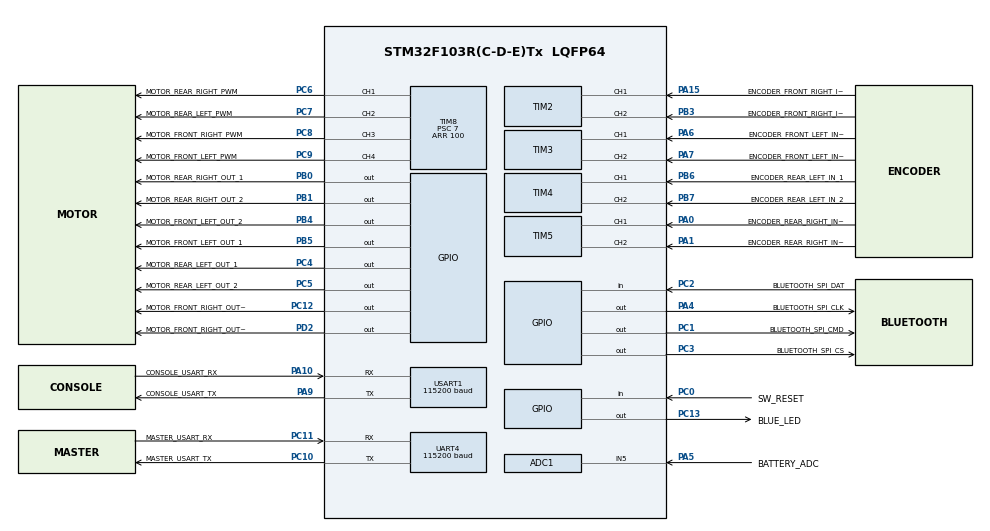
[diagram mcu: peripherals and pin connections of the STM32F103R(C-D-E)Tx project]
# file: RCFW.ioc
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ADC1.Channel-3\#ChannelRegularConversion=ADC_CHANNEL_5
ADC1.NbrOfConversionFlag=1
ADC1.Rank-3\#ChannelRegularConversion=1
ADC1.SamplingTime-3\#ChannelRegularConversion=ADC_SAMPLETIME_1CYCLE_5
ADC1.master=1
Mcu.Family=STM32F1
Mcu.Name=STM32F103R(C-D-E)Tx
Mcu.Package=LQFP64
NVIC.PriorityGroup=NVIC_PRIORITYGROUP_4
NVIC.TIM1_UP_IRQn=true\:6\:0\:true\:false\:true\:true\:true
NVIC.TIM2_IRQn=true\:4\:0\:true\:false\:true\:true\:true
NVIC.TIM3_IRQn=true\:4\:0\:true\:false\:true\:true\:true
NVIC.TIM4_IRQn=true\:4\:0\:true\:false\:true\:true\:true
NVIC.TIM5_IRQn=true\:4\:0\:true\:false\:true\:true\:true
NVIC.TIM6_IRQn=true\:0\:0\:false\:false\:true\:true\:true
NVIC.UART4_IRQn=true\:5\:0\:true\:false\:true\:true\:true
NVIC.USART1_IRQn=true\:5\:0\:true\:false\:true\:true\:true
PA0-WKUP.GPIO_Label=ENCODER_REAR_RIGHT_IN_1
PA0-WKUP.Signal=S_TIM5_CH1
PA1.GPIO_Label=ENCODER_REAR_RIGHT_IN_2
PA1.Signal=S_TIM5_CH2
PA10.GPIO_Label=CONSOLE_USART_RX
PA10.Mode=Asynchronous
PA10.Signal=USART1_RX
PA13.Mode=Serial_Wire
PA13.Signal=SYS_JTMS-SWDIO
PA14.Mode=Serial_Wire
PA14.Signal=SYS_JTCK-SWCLK
PA15.GPIO_Label=ENCODER_FRONT_RIGHT_IN_1
PA15.Signal=S_TIM2_CH1_ETR
PA4.GPIO_Label=BLUETOOTH_SPI_CLK
PA4.GPIO_Speed=GPIO_SPEED_FREQ_HIGH
PA4.Signal=GPIO_Output
PA5.GPIO_Label=BATTERY_ADC
PA5.Signal=SharedAnalog_PA5
PA6.GPIO_Label=ENCODER_FRONT_LEFT_IN_1
PA6.Signal=S_TIM3_CH1
PA7.GPIO_Label=ENCODER_FRONT_LEFT_IN_2
PA7.Signal=S_TIM3_CH2
PA9.GPIO_Label=CONSOLE_USART_TX
PA9.Mode=Asynchronous
PA9.Signal=USART1_TX
PB0.GPIO_Label=MOTOR_REAR_RIGHT_OUT_1
PB0.GPIO_Speed=GPIO_SPEED_FREQ_HIGH
PB0.Signal=GPIO_Output
PB1.GPIO_Label=MOTOR_REAR_RIGHT_OUT_2
PB1.GPIO_Speed=GPIO_SPEED_FREQ_HIGH
PB1.Signal=GPIO_Output
PB3.GPIO_Label=ENCODER_FRONT_RIGHT_IN_2
PB3.Signal=S_TIM2_CH2
PB4.GPIO_Label=MOTOR_FRONT_LEFT_OUT_2
PB4.GPIO_Speed=GPIO_SPEED_FREQ_HIGH
PB4.Signal=GPIO_Output
PB5.GPIO_Label=MOTOR_FRONT_LEFT_OUT_1
PB5.GPIO_Speed=GPIO_SPEED_FREQ_HIGH
PB5.Signal=GPIO_Output
PB6.GPIO_Label=ENCODER_REAR_LEFT_IN_1
PB6.Signal=S_TIM4_CH1
PB7.GPIO_Label=ENCODER_REAR_LEFT_IN_2
PB7.Signal=S_TIM4_CH2
PC0.GPIO_Label=SW_RESET
PC0.Signal=GPIO_Input
PC1.GPIO_Label=BLUETOOTH_SPI_CMD
PC1.GPIO_Speed=GPIO_SPEED_FREQ_HIGH
PC1.Signal=GPIO_Output
PC10.GPIO_Label=MASTER_USART_TX
PC10.Mode=Asynchronous
PC10.Signal=UART4_TX
PC11.GPIO_Label=MASTER_USART_RX
PC11.Mode=Asynchronous
PC11.Signal=UART4_RX
PC12.GPIO_Label=MOTOR_FRONT_RIGHT_OUT_2
PC12.GPIO_Speed=GPIO_SPEED_FREQ_HIGH
PC12.Signal=GPIO_Output
PC13-TAMPER-RTC.GPIO_Label=BLUE_LED
PC13-TAMPER-RTC.Signal=GPIO_Output
PC2.GPIO_Label=BLUETOOTH_SPI_DAT
PC2.Signal=GPIO_Input
PC3.GPIO_Label=BLUETOOTH_SPI_CS
PC3.GPIO_Speed=GPIO_SPEED_FREQ_HIGH
PC3.Signal=GPIO_Output
PC4.GPIO_Label=MOTOR_REAR_LEFT_OUT_1
PC4.GPIO_Speed=GPIO_SPEED_FREQ_HIGH
PC4.Signal=GPIO_Output
PC5.GPIO_Label=MOTOR_REAR_LEFT_OUT_2
PC5.GPIO_Speed=GPIO_SPEED_FREQ_HIGH
PC5.Signal=GPIO_Output
PC6.GPIO_Label=MOTOR_REAR_RIGHT_PWM
PC6.GPIO_Speed=GPIO_SPEED_FREQ_HIGH
PC6.Signal=S_TIM8_CH1
PC7.GPIO_Label=MOTOR_REAR_LEFT_PWM
PC7.GPIO_Speed=GPIO_SPEED_FREQ_HIGH
PC7.Signal=S_TIM8_CH2
PC8.GPIO_Label=MOTOR_FRONT_RIGHT_PWM
PC8.GPIO_Speed=GPIO_SPEED_FREQ_HIGH
PC8.Signal=S_TIM8_CH3
PC9.GPIO_Label=MOTOR_FRONT_LEFT_PWM
PC9.GPIO_Speed=GPIO_SPEED_FREQ_HIGH
PC9.Signal=S_TIM8_CH4
PD2.GPIO_Label=MOTOR_FRONT_RIGHT_OUT_1
PD2.GPIO_Speed=GPIO_SPEED_FREQ_HIGH
PD2.Signal=GPIO_Output
ProjectManager.HeapSize=0x200
ProjectManager.StackSize=0x400
ProjectManager.TargetToolchain=STM32CubeIDE
RCC.APB1Freq_Value=8000000
RCC.APB2Freq_Value=8000000
SH.S_TIM2_CH1_ETR.0=TIM2_CH1,Encoder_Interface
SH.S_TIM2_CH2.0=TIM2_CH2,Encoder_Interface
SH.S_TIM3_CH1.0=TIM3_CH1,Encoder_Interface
SH.S_TIM3_CH2.0=TIM3_CH2,Encoder_Interface
SH.S_TIM4_CH1.0=TIM4_CH1,Encoder_Interface
SH.S_TIM4_CH2.0=TIM4_CH2,Encoder_Interface
SH.S_TIM5_CH1.0=TIM5_CH1,Encoder_Interface
SH.S_TIM5_CH2.0=TIM5_CH2,Encoder_Interface
SH.S_TIM8_CH1.0=TIM8_CH1,PWM Generation1 CH1
SH.S_TIM8_CH2.0=TIM8_CH2,PWM Generation2 CH2
SH.S_TIM8_CH3.0=TIM8_CH3,PWM Generation3 CH3
SH.S_TIM8_CH4.0=TIM8_CH4,PWM Generation4 CH4
SH.SharedAnalog_PA5.0=GPIO_Analog
SH.SharedAnalog_PA5.1=ADC1_IN5,IN5
TIM1.AutoReloadPreload=TIM_AUTORELOAD_PRELOAD_ENABLE
TIM1.Period=249
TIM1.Prescaler=7999
TIM2.AutoReloadPreload=TIM_AUTORELOAD_PRELOAD_ENABLE
TIM2.EncoderMode=TIM_ENCODERMODE_TI12
TIM2.IC1Filter=10
TIM3.AutoReloadPreload=TIM_AUTORELOAD_PRELOAD_ENABLE
TIM3.EncoderMode=TIM_ENCODERMODE_TI12
TIM3.IC1Filter=10
TIM3.IC1Polarity=TIM_ICPOLARITY_RISING
TIM3.IC2Polarity=TIM_ICPOLARITY_RISING
TIM4.AutoReloadPreload=TIM_AUTORELOAD_PRELOAD_ENABLE
TIM4.EncoderMode=TIM_ENCODERMODE_TI12
TIM4.IC1Filter=10
TIM5.AutoReloadPreload=TIM_AUTORELOAD_PRELOAD_ENABLE
TIM5.EncoderMode=TIM_ENCODERMODE_TI12
TIM5.IC1Filter=10
TIM6.AutoReloadPreload=TIM_AUTORELOAD_PRELOAD_ENABLE
TIM6.Prescaler=7
TIM7.AutoReloadPreload=TIM_AUTORELOAD_PRELOAD_ENABLE
TIM7.Prescaler=7
TIM8.AutoReloadPreload=TIM_AUTORELOAD_PRELOAD_ENABLE
TIM8.Channel-Output\ Compare4\ CH4=TIM_CHANNEL_4
TIM8.Channel-PWM\ Generation1\ CH1=TIM_CHANNEL_1
TIM8.Channel-PWM\ Generation2\ CH2=TIM_CHANNEL_2
TIM8.Channel-PWM\ Generation3\ CH3=TIM_CHANNEL_3
TIM8.Channel-PWM\ Generation4\ CH4=TIM_CHANNEL_4
TIM8.CounterMode=TIM_COUNTERMODE_CENTERALIGNED1
TIM8.Period=100
TIM8.Prescaler=7
UART4.BaudRate=115200
UART4.VirtualMode=Asynchronous
USART1.BaudRate=115200
USART1.VirtualMode=VM_ASYNC
VP_RTC_No_RTC_Output.Mode=RTC_OUT_NO
VP_RTC_VS_RTC_Activate.Mode=RTC_Enabled
VP_RTC_VS_RTC_Calendar.Mode=RTC_Calendar
VP_TIM1_VS_ClockSourceINT.Mode=Internal
VP_TIM6_VS_ClockSourceINT.Mode=Enable_Timer
VP_TIM7_VS_ClockSourceINT.Mode=Enable_Timer
VP_TIM8_VS_ClockSourceINT.Mode=Internal
board=custom

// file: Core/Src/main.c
/* USER CODE BEGIN Header */
/**
  ******************************************************************************
  * @file           : main.c
  * @brief          : Main program body
  ******************************************************************************
  * @attention
  *
  * <h2><center>&copy; Copyright (c) 2021 STMicroelectronics.
  * All rights reserved.</center></h2>
  *
  * This software component is licensed by ST under BSD 3-Clause license,
  * the "License"; You may not use this file except in compliance with the
  * License. You may obtain a copy of the License at:
  *                        opensource.org/licenses/BSD-3-Clause
  *
  ******************************************************************************
  */
/* USER CODE END Header */
#include "main.h"

/* USER CODE BEGIN Includes */

#include "rcfw.h"
#include "utils.h"
#include "setup.h"
#include "led.h"
#include "chrono.h"
#include "console.h"
#include "master_control.h"

/* USER CODE END Includes */

ADC_HandleTypeDef hadc1;

RTC_HandleTypeDef hrtc;

TIM_HandleTypeDef htim1;
TIM_HandleTypeDef htim2;
TIM_HandleTypeDef htim3;
TIM_HandleTypeDef htim4;
TIM_HandleTypeDef htim5;
TIM_HandleTypeDef htim6;
TIM_HandleTypeDef htim7;
TIM_HandleTypeDef htim8;

UART_HandleTypeDef huart4;
UART_HandleTypeDef huart1;

void SystemClock_Config(void);
static void MX_GPIO_Init(void);
static void MX_USART1_UART_Init(void);
static void MX_UART4_Init(void);
static void MX_ADC1_Init(void);
static void MX_RTC_Init(void);
static void MX_TIM1_Init(void);
static void MX_TIM2_Init(void);
static void MX_TIM3_Init(void);
static void MX_TIM4_Init(void);
static void MX_TIM5_Init(void);
static void MX_TIM6_Init(void);
static void MX_TIM7_Init(void);
static void MX_TIM8_Init(void);

int main(void)
{
  /* USER CODE BEGIN 1 */

  T_RCF_Handle l_rcfHandle;

  /* USER CODE END 1 */

  /* MCU Configuration--------------------------------------------------------*/

  /* Reset of all peripherals, Initializes the Flash interface and the Systick. */
  HAL_Init();

  /* Configure the system clock */
  SystemClock_Config();

  /* Initialize all configured peripherals */
  MX_GPIO_Init();
  MX_USART1_UART_Init();
  MX_UART4_Init();
  MX_ADC1_Init();
  MX_RTC_Init();
  MX_TIM1_Init();
  MX_TIM2_Init();
  MX_TIM3_Init();
  MX_TIM4_Init();
  MX_TIM5_Init();
  MX_TIM6_Init();
  MX_TIM7_Init();
  MX_TIM8_Init();
  /* USER CODE BEGIN 2 */

  RCF_init(&l_rcfHandle,
           &htim1 ,
           &htim2 ,
           &htim3 ,
           &htim4 ,
           &htim5 ,
           &htim6 ,
           &htim7 ,
           &htim8 ,
           &hrtc  ,
           &hadc1 ,
           &huart1,
           &huart4);

  /* USER CODE END 2 */

  /* Infinite loop */
  /* USER CODE BEGIN WHILE */
  while (1)
  {
    RCF_update(&l_rcfHandle);

    UTI_delayUs(STP_MAIN_LOOP_DELAY_IN_US);

    /* USER CODE END WHILE */

  }
}

void SystemClock_Config(void)
{
  RCC_OscInitTypeDef RCC_OscInitStruct = {0};
  RCC_ClkInitTypeDef RCC_ClkInitStruct = {0};
  RCC_PeriphCLKInitTypeDef PeriphClkInit = {0};

  /** Initializes the RCC Oscillators according to the specified parameters
  * in the RCC_OscInitTypeDef structure.
  */
  RCC_OscInitStruct.OscillatorType = RCC_OSCILLATORTYPE_HSI|RCC_OSCILLATORTYPE_LSI;
  RCC_OscInitStruct.HSIState = RCC_HSI_ON;
  RCC_OscInitStruct.HSICalibrationValue = RCC_HSICALIBRATION_DEFAULT;
  RCC_OscInitStruct.LSIState = RCC_LSI_ON;
  RCC_OscInitStruct.PLL.PLLState = RCC_PLL_NONE;
  if (HAL_RCC_OscConfig(&RCC_OscInitStruct) != HAL_OK)
  {
    Error_Handler();
  }
  /** Initializes the CPU, AHB and APB buses clocks
  */
  RCC_ClkInitStruct.ClockType = RCC_CLOCKTYPE_HCLK|RCC_CLOCKTYPE_SYSCLK
                              |RCC_CLOCKTYPE_PCLK1|RCC_CLOCKTYPE_PCLK2;
  RCC_ClkInitStruct.SYSCLKSource = RCC_SYSCLKSOURCE_HSI;
  RCC_ClkInitStruct.AHBCLKDivider = RCC_SYSCLK_DIV1;
  RCC_ClkInitStruct.APB1CLKDivider = RCC_HCLK_DIV1;
  RCC_ClkInitStruct.APB2CLKDivider = RCC_HCLK_DIV1;

  if (HAL_RCC_ClockConfig(&RCC_ClkInitStruct, FLASH_LATENCY_0) != HAL_OK)
  {
    Error_Handler();
  }
  PeriphClkInit.PeriphClockSelection = RCC_PERIPHCLK_RTC|RCC_PERIPHCLK_ADC;
  PeriphClkInit.RTCClockSelection = RCC_RTCCLKSOURCE_LSI;
  PeriphClkInit.AdcClockSelection = RCC_ADCPCLK2_DIV2;
  if (HAL_RCCEx_PeriphCLKConfig(&PeriphClkInit) != HAL_OK)
  {
    Error_Handler();
  }
}

static void MX_ADC1_Init(void)
{

  ADC_ChannelConfTypeDef sConfig = {0};

  /** Common config
  */
  hadc1.Instance = ADC1;
  hadc1.Init.ScanConvMode = ADC_SCAN_DISABLE;
  hadc1.Init.ContinuousConvMode = DISABLE;
  hadc1.Init.DiscontinuousConvMode = DISABLE;
  hadc1.Init.ExternalTrigConv = ADC_SOFTWARE_START;
  hadc1.Init.DataAlign = ADC_DATAALIGN_RIGHT;
  hadc1.Init.NbrOfConversion = 1;
  if (HAL_ADC_Init(&hadc1) != HAL_OK)
  {
    Error_Handler();
  }
  /** Configure Regular Channel
  */
  sConfig.Channel = ADC_CHANNEL_5;
  sConfig.Rank = ADC_REGULAR_RANK_1;
  sConfig.SamplingTime = ADC_SAMPLETIME_1CYCLE_5;
  if (HAL_ADC_ConfigChannel(&hadc1, &sConfig) != HAL_OK)
  {
    Error_Handler();
  }

}

static void MX_RTC_Init(void)
{

  RTC_TimeTypeDef sTime = {0};
  RTC_DateTypeDef DateToUpdate = {0};

  /** Initialize RTC Only
  */
  hrtc.Instance = RTC;
  hrtc.Init.AsynchPrediv = RTC_AUTO_1_SECOND;
  hrtc.Init.OutPut = RTC_OUTPUTSOURCE_NONE;
  if (HAL_RTC_Init(&hrtc) != HAL_OK)
  {
    Error_Handler();
  }

  /** Initialize RTC and set the Time and Date
  */
  sTime.Hours = 0x0;
  sTime.Minutes = 0x0;
  sTime.Seconds = 0x0;

  if (HAL_RTC_SetTime(&hrtc, &sTime, RTC_FORMAT_BCD) != HAL_OK)
  {
    Error_Handler();
  }
  DateToUpdate.WeekDay = RTC_WEEKDAY_MONDAY;
  DateToUpdate.Month = RTC_MONTH_JANUARY;
  DateToUpdate.Date = 0x1;
  DateToUpdate.Year = 0x0;

  if (HAL_RTC_SetDate(&hrtc, &DateToUpdate, RTC_FORMAT_BCD) != HAL_OK)
  {
    Error_Handler();
  }

}

static void MX_TIM1_Init(void)
{

  TIM_ClockConfigTypeDef sClockSourceConfig = {0};
  TIM_MasterConfigTypeDef sMasterConfig = {0};

  htim1.Instance = TIM1;
  htim1.Init.Prescaler = 7999;
  htim1.Init.CounterMode = TIM_COUNTERMODE_UP;
  htim1.Init.Period = 249;
  htim1.Init.ClockDivision = TIM_CLOCKDIVISION_DIV1;
  htim1.Init.RepetitionCounter = 0;
  htim1.Init.AutoReloadPreload = TIM_AUTORELOAD_PRELOAD_ENABLE;
  if (HAL_TIM_Base_Init(&htim1) != HAL_OK)
  {
    Error_Handler();
  }
  sClockSourceConfig.ClockSource = TIM_CLOCKSOURCE_INTERNAL;
  if (HAL_TIM_ConfigClockSource(&htim1, &sClockSourceConfig) != HAL_OK)
  {
    Error_Handler();
  }
  sMasterConfig.MasterOutputTrigger = TIM_TRGO_RESET;
  sMasterConfig.MasterSlaveMode = TIM_MASTERSLAVEMODE_DISABLE;
  if (HAL_TIMEx_MasterConfigSynchronization(&htim1, &sMasterConfig) != HAL_OK)
  {
    Error_Handler();
  }

}

static void MX_TIM2_Init(void)
{

  TIM_Encoder_InitTypeDef sConfig = {0};
  TIM_MasterConfigTypeDef sMasterConfig = {0};

  htim2.Instance = TIM2;
  htim2.Init.Prescaler = 0;
  htim2.Init.CounterMode = TIM_COUNTERMODE_UP;
  htim2.Init.Period = 65535;
  htim2.Init.ClockDivision = TIM_CLOCKDIVISION_DIV1;
  htim2.Init.AutoReloadPreload = TIM_AUTORELOAD_PRELOAD_ENABLE;
  sConfig.EncoderMode = TIM_ENCODERMODE_TI12;
  sConfig.IC1Polarity = TIM_ICPOLARITY_RISING;
  sConfig.IC1Selection = TIM_ICSELECTION_DIRECTTI;
  sConfig.IC1Prescaler = TIM_ICPSC_DIV1;
  sConfig.IC1Filter = 10;
  sConfig.IC2Polarity = TIM_ICPOLARITY_RISING;
  sConfig.IC2Selection = TIM_ICSELECTION_DIRECTTI;
  sConfig.IC2Prescaler = TIM_ICPSC_DIV1;
  sConfig.IC2Filter = 0;
  if (HAL_TIM_Encoder_Init(&htim2, &sConfig) != HAL_OK)
  {
    Error_Handler();
  }
  sMasterConfig.MasterOutputTrigger = TIM_TRGO_RESET;
  sMasterConfig.MasterSlaveMode = TIM_MASTERSLAVEMODE_DISABLE;
  if (HAL_TIMEx_MasterConfigSynchronization(&htim2, &sMasterConfig) != HAL_OK)
  {
    Error_Handler();
  }

}

static void MX_TIM3_Init(void)
{

  TIM_Encoder_InitTypeDef sConfig = {0};
  TIM_MasterConfigTypeDef sMasterConfig = {0};

  htim3.Instance = TIM3;
  htim3.Init.Prescaler = 0;
  htim3.Init.CounterMode = TIM_COUNTERMODE_UP;
  htim3.Init.Period = 65535;
  htim3.Init.ClockDivision = TIM_CLOCKDIVISION_DIV1;
  htim3.Init.AutoReloadPreload = TIM_AUTORELOAD_PRELOAD_ENABLE;
  sConfig.EncoderMode = TIM_ENCODERMODE_TI12;
  sConfig.IC1Polarity = TIM_ICPOLARITY_RISING;
  sConfig.IC1Selection = TIM_ICSELECTION_DIRECTTI;
  sConfig.IC1Prescaler = TIM_ICPSC_DIV1;
  sConfig.IC1Filter = 10;
  sConfig.IC2Polarity = TIM_ICPOLARITY_RISING;
  sConfig.IC2Selection = TIM_ICSELECTION_DIRECTTI;
  sConfig.IC2Prescaler = TIM_ICPSC_DIV1;
  sConfig.IC2Filter = 0;
  if (HAL_TIM_Encoder_Init(&htim3, &sConfig) != HAL_OK)
  {
    Error_Handler();
  }
  sMasterConfig.MasterOutputTrigger = TIM_TRGO_RESET;
  sMasterConfig.MasterSlaveMode = TIM_MASTERSLAVEMODE_DISABLE;
  if (HAL_TIMEx_MasterConfigSynchronization(&htim3, &sMasterConfig) != HAL_OK)
  {
    Error_Handler();
  }

}

static void MX_TIM4_Init(void)
{

  TIM_Encoder_InitTypeDef sConfig = {0};
  TIM_MasterConfigTypeDef sMasterConfig = {0};

  htim4.Instance = TIM4;
  htim4.Init.Prescaler = 0;
  htim4.Init.CounterMode = TIM_COUNTERMODE_UP;
  htim4.Init.Period = 65535;
  htim4.Init.ClockDivision = TIM_CLOCKDIVISION_DIV1;
  htim4.Init.AutoReloadPreload = TIM_AUTORELOAD_PRELOAD_ENABLE;
  sConfig.EncoderMode = TIM_ENCODERMODE_TI12;
  sConfig.IC1Polarity = TIM_ICPOLARITY_RISING;
  sConfig.IC1Selection = TIM_ICSELECTION_DIRECTTI;
  sConfig.IC1Prescaler = TIM_ICPSC_DIV1;
  sConfig.IC1Filter = 10;
  sConfig.IC2Polarity = TIM_ICPOLARITY_RISING;
  sConfig.IC2Selection = TIM_ICSELECTION_DIRECTTI;
  sConfig.IC2Prescaler = TIM_ICPSC_DIV1;
  sConfig.IC2Filter = 0;
  if (HAL_TIM_Encoder_Init(&htim4, &sConfig) != HAL_OK)
  {
    Error_Handler();
  }
  sMasterConfig.MasterOutputTrigger = TIM_TRGO_RESET;
  sMasterConfig.MasterSlaveMode = TIM_MASTERSLAVEMODE_DISABLE;
  if (HAL_TIMEx_MasterConfigSynchronization(&htim4, &sMasterConfig) != HAL_OK)
  {
    Error_Handler();
  }

}

static void MX_TIM5_Init(void)
{

  TIM_Encoder_InitTypeDef sConfig = {0};
  TIM_MasterConfigTypeDef sMasterConfig = {0};

  htim5.Instance = TIM5;
  htim5.Init.Prescaler = 0;
  htim5.Init.CounterMode = TIM_COUNTERMODE_UP;
  htim5.Init.Period = 65535;
  htim5.Init.ClockDivision = TIM_CLOCKDIVISION_DIV1;
  htim5.Init.AutoReloadPreload = TIM_AUTORELOAD_PRELOAD_ENABLE;
  sConfig.EncoderMode = TIM_ENCODERMODE_TI12;
  sConfig.IC1Polarity = TIM_ICPOLARITY_RISING;
  sConfig.IC1Selection = TIM_ICSELECTION_DIRECTTI;
  sConfig.IC1Prescaler = TIM_ICPSC_DIV1;
  sConfig.IC1Filter = 10;
  sConfig.IC2Polarity = TIM_ICPOLARITY_RISING;
  sConfig.IC2Selection = TIM_ICSELECTION_DIRECTTI;
  sConfig.IC2Prescaler = TIM_ICPSC_DIV1;
  sConfig.IC2Filter = 0;
  if (HAL_TIM_Encoder_Init(&htim5, &sConfig) != HAL_OK)
  {
    Error_Handler();
  }
  sMasterConfig.MasterOutputTrigger = TIM_TRGO_RESET;
  sMasterConfig.MasterSlaveMode = TIM_MASTERSLAVEMODE_DISABLE;
  if (HAL_TIMEx_MasterConfigSynchronization(&htim5, &sMasterConfig) != HAL_OK)
  {
    Error_Handler();
  }

}

static void MX_TIM6_Init(void)
{

  TIM_MasterConfigTypeDef sMasterConfig = {0};

  htim6.Instance = TIM6;
  htim6.Init.Prescaler = 7;
  htim6.Init.CounterMode = TIM_COUNTERMODE_UP;
  htim6.Init.Period = 65535;
  htim6.Init.AutoReloadPreload = TIM_AUTORELOAD_PRELOAD_ENABLE;
  if (HAL_TIM_Base_Init(&htim6) != HAL_OK)
  {
    Error_Handler();
  }
  sMasterConfig.MasterOutputTrigger = TIM_TRGO_RESET;
  sMasterConfig.MasterSlaveMode = TIM_MASTERSLAVEMODE_DISABLE;
  if (HAL_TIMEx_MasterConfigSynchronization(&htim6, &sMasterConfig) != HAL_OK)
  {
    Error_Handler();
  }

}

static void MX_TIM7_Init(void)
{

  TIM_MasterConfigTypeDef sMasterConfig = {0};

  htim7.Instance = TIM7;
  htim7.Init.Prescaler = 7;
  htim7.Init.CounterMode = TIM_COUNTERMODE_UP;
  htim7.Init.Period = 65535;
  htim7.Init.AutoReloadPreload = TIM_AUTORELOAD_PRELOAD_ENABLE;
  if (HAL_TIM_Base_Init(&htim7) != HAL_OK)
  {
    Error_Handler();
  }
  sMasterConfig.MasterOutputTrigger = TIM_TRGO_RESET;
  sMasterConfig.MasterSlaveMode = TIM_MASTERSLAVEMODE_DISABLE;
  if (HAL_TIMEx_MasterConfigSynchronization(&htim7, &sMasterConfig) != HAL_OK)
  {
    Error_Handler();
  }

}

static void MX_TIM8_Init(void)
{

  TIM_ClockConfigTypeDef sClockSourceConfig = {0};
  TIM_MasterConfigTypeDef sMasterConfig = {0};
  TIM_OC_InitTypeDef sConfigOC = {0};
  TIM_BreakDeadTimeConfigTypeDef sBreakDeadTimeConfig = {0};

  htim8.Instance = TIM8;
  htim8.Init.Prescaler = 7;
  htim8.Init.CounterMode = TIM_COUNTERMODE_CENTERALIGNED1;
  htim8.Init.Period = 100;
  htim8.Init.ClockDivision = TIM_CLOCKDIVISION_DIV1;
  htim8.Init.RepetitionCounter = 0;
  htim8.Init.AutoReloadPreload = TIM_AUTORELOAD_PRELOAD_ENABLE;
  if (HAL_TIM_Base_Init(&htim8) != HAL_OK)
  {
    Error_Handler();
  }
  sClockSourceConfig.ClockSource = TIM_CLOCKSOURCE_INTERNAL;
  if (HAL_TIM_ConfigClockSource(&htim8, &sClockSourceConfig) != HAL_OK)
  {
    Error_Handler();
  }
  if (HAL_TIM_PWM_Init(&htim8) != HAL_OK)
  {
    Error_Handler();
  }
  sMasterConfig.MasterOutputTrigger = TIM_TRGO_RESET;
  sMasterConfig.MasterSlaveMode = TIM_MASTERSLAVEMODE_DISABLE;
  if (HAL_TIMEx_MasterConfigSynchronization(&htim8, &sMasterConfig) != HAL_OK)
  {
    Error_Handler();
  }
  sConfigOC.OCMode = TIM_OCMODE_PWM1;
  sConfigOC.Pulse = 0;
  sConfigOC.OCPolarity = TIM_OCPOLARITY_HIGH;
  sConfigOC.OCNPolarity = TIM_OCNPOLARITY_HIGH;
  sConfigOC.OCFastMode = TIM_OCFAST_DISABLE;
  sConfigOC.OCIdleState = TIM_OCIDLESTATE_RESET;
  sConfigOC.OCNIdleState = TIM_OCNIDLESTATE_RESET;
  if (HAL_TIM_PWM_ConfigChannel(&htim8, &sConfigOC, TIM_CHANNEL_1) != HAL_OK)
  {
    Error_Handler();
  }
  if (HAL_TIM_PWM_ConfigChannel(&htim8, &sConfigOC, TIM_CHANNEL_2) != HAL_OK)
  {
    Error_Handler();
  }
  if (HAL_TIM_PWM_ConfigChannel(&htim8, &sConfigOC, TIM_CHANNEL_3) != HAL_OK)
  {
    Error_Handler();
  }
  if (HAL_TIM_PWM_ConfigChannel(&htim8, &sConfigOC, TIM_CHANNEL_4) != HAL_OK)
  {
    Error_Handler();
  }
  sBreakDeadTimeConfig.OffStateRunMode = TIM_OSSR_DISABLE;
  sBreakDeadTimeConfig.OffStateIDLEMode = TIM_OSSI_DISABLE;
  sBreakDeadTimeConfig.LockLevel = TIM_LOCKLEVEL_OFF;
  sBreakDeadTimeConfig.DeadTime = 0;
  sBreakDeadTimeConfig.BreakState = TIM_BREAK_DISABLE;
  sBreakDeadTimeConfig.BreakPolarity = TIM_BREAKPOLARITY_HIGH;
  sBreakDeadTimeConfig.AutomaticOutput = TIM_AUTOMATICOUTPUT_DISABLE;
  if (HAL_TIMEx_ConfigBreakDeadTime(&htim8, &sBreakDeadTimeConfig) != HAL_OK)
  {
    Error_Handler();
  }
  HAL_TIM_MspPostInit(&htim8);

}

static void MX_UART4_Init(void)
{

  huart4.Instance = UART4;
  huart4.Init.BaudRate = 115200;
  huart4.Init.WordLength = UART_WORDLENGTH_8B;
  huart4.Init.StopBits = UART_STOPBITS_1;
  huart4.Init.Parity = UART_PARITY_NONE;
  huart4.Init.Mode = UART_MODE_TX_RX;
  huart4.Init.HwFlowCtl = UART_HWCONTROL_NONE;
  huart4.Init.OverSampling = UART_OVERSAMPLING_16;
  if (HAL_UART_Init(&huart4) != HAL_OK)
  {
    Error_Handler();
  }

}

static void MX_USART1_UART_Init(void)
{

  huart1.Instance = USART1;
  huart1.Init.BaudRate = 115200;
  huart1.Init.WordLength = UART_WORDLENGTH_8B;
  huart1.Init.StopBits = UART_STOPBITS_1;
  huart1.Init.Parity = UART_PARITY_NONE;
  huart1.Init.Mode = UART_MODE_TX_RX;
  huart1.Init.HwFlowCtl = UART_HWCONTROL_NONE;
  huart1.Init.OverSampling = UART_OVERSAMPLING_16;
  if (HAL_UART_Init(&huart1) != HAL_OK)
  {
    Error_Handler();
  }

}

static void MX_GPIO_Init(void)
{
  GPIO_InitTypeDef GPIO_InitStruct = {0};

  /* GPIO Ports Clock Enable */
  __HAL_RCC_GPIOC_CLK_ENABLE();
  __HAL_RCC_GPIOA_CLK_ENABLE();
  __HAL_RCC_GPIOB_CLK_ENABLE();
  __HAL_RCC_GPIOD_CLK_ENABLE();

  /*Configure GPIO pin Output Level */
  HAL_GPIO_WritePin(GPIOC, BLUE_LED_Pin|BLUETOOTH_SPI_CMD_Pin|BLUETOOTH_SPI_CS_Pin|MOTOR_REAR_LEFT_OUT_1_Pin
                          |MOTOR_REAR_LEFT_OUT_2_Pin|MOTOR_FRONT_RIGHT_OUT_2_Pin, GPIO_PIN_RESET);

  /*Configure GPIO pin Output Level */
  HAL_GPIO_WritePin(BLUETOOTH_SPI_CLK_GPIO_Port, BLUETOOTH_SPI_CLK_Pin, GPIO_PIN_RESET);

  /*Configure GPIO pin Output Level */
  HAL_GPIO_WritePin(GPIOB, MOTOR_REAR_RIGHT_OUT_1_Pin|MOTOR_REAR_RIGHT_OUT_2_Pin|MOTOR_FRONT_LEFT_OUT_2_Pin|MOTOR_FRONT_LEFT_OUT_1_Pin, GPIO_PIN_RESET);

  /*Configure GPIO pin Output Level */
  HAL_GPIO_WritePin(MOTOR_FRONT_RIGHT_OUT_1_GPIO_Port, MOTOR_FRONT_RIGHT_OUT_1_Pin, GPIO_PIN_RESET);

  /*Configure GPIO pin : BLUE_LED_Pin */
  GPIO_InitStruct.Pin = BLUE_LED_Pin;
  GPIO_InitStruct.Mode = GPIO_MODE_OUTPUT_PP;
  GPIO_InitStruct.Pull = GPIO_NOPULL;
  GPIO_InitStruct.Speed = GPIO_SPEED_FREQ_LOW;
  HAL_GPIO_Init(BLUE_LED_GPIO_Port, &GPIO_InitStruct);

  /*Configure GPIO pins : SW_RESET_Pin BLUETOOTH_SPI_DAT_Pin */
  GPIO_InitStruct.Pin = SW_RESET_Pin|BLUETOOTH_SPI_DAT_Pin;
  GPIO_InitStruct.Mode = GPIO_MODE_INPUT;
  GPIO_InitStruct.Pull = GPIO_NOPULL;
  HAL_GPIO_Init(GPIOC, &GPIO_InitStruct);

  /*Configure GPIO pins : BLUETOOTH_SPI_CMD_Pin BLUETOOTH_SPI_CS_Pin MOTOR_REAR_LEFT_OUT_1_Pin MOTOR_REAR_LEFT_OUT_2_Pin
                           MOTOR_FRONT_RIGHT_OUT_2_Pin */
  GPIO_InitStruct.Pin = BLUETOOTH_SPI_CMD_Pin|BLUETOOTH_SPI_CS_Pin|MOTOR_REAR_LEFT_OUT_1_Pin|MOTOR_REAR_LEFT_OUT_2_Pin
                          |MOTOR_FRONT_RIGHT_OUT_2_Pin;
  GPIO_InitStruct.Mode = GPIO_MODE_OUTPUT_PP;
  GPIO_InitStruct.Pull = GPIO_NOPULL;
  GPIO_InitStruct.Speed = GPIO_SPEED_FREQ_HIGH;
  HAL_GPIO_Init(GPIOC, &GPIO_InitStruct);

  /*Configure GPIO pin : BLUETOOTH_SPI_CLK_Pin */
  GPIO_InitStruct.Pin = BLUETOOTH_SPI_CLK_Pin;
  GPIO_InitStruct.Mode = GPIO_MODE_OUTPUT_PP;
  GPIO_InitStruct.Pull = GPIO_NOPULL;
  GPIO_InitStruct.Speed = GPIO_SPEED_FREQ_HIGH;
  HAL_GPIO_Init(BLUETOOTH_SPI_CLK_GPIO_Port, &GPIO_InitStruct);

  /*Configure GPIO pins : MOTOR_REAR_RIGHT_OUT_1_Pin MOTOR_REAR_RIGHT_OUT_2_Pin MOTOR_FRONT_LEFT_OUT_2_Pin MOTOR_FRONT_LEFT_OUT_1_Pin */
  GPIO_InitStruct.Pin = MOTOR_REAR_RIGHT_OUT_1_Pin|MOTOR_REAR_RIGHT_OUT_2_Pin|MOTOR_FRONT_LEFT_OUT_2_Pin|MOTOR_FRONT_LEFT_OUT_1_Pin;
  GPIO_InitStruct.Mode = GPIO_MODE_OUTPUT_PP;
  GPIO_InitStruct.Pull = GPIO_NOPULL;
  GPIO_InitStruct.Speed = GPIO_SPEED_FREQ_HIGH;
  HAL_GPIO_Init(GPIOB, &GPIO_InitStruct);

  /*Configure GPIO pin : MOTOR_FRONT_RIGHT_OUT_1_Pin */
  GPIO_InitStruct.Pin = MOTOR_FRONT_RIGHT_OUT_1_Pin;
  GPIO_InitStruct.Mode = GPIO_MODE_OUTPUT_PP;
  GPIO_InitStruct.Pull = GPIO_NOPULL;
  GPIO_InitStruct.Speed = GPIO_SPEED_FREQ_HIGH;
  HAL_GPIO_Init(MOTOR_FRONT_RIGHT_OUT_1_GPIO_Port, &GPIO_InitStruct);

}

/* USER CODE BEGIN 4 */

void HAL_TIM_IC_CaptureCallback(TIM_HandleTypeDef *htim)
{
  if ((htim == &htim2) || (htim == &htim3) || (htim == &htim4) || (htim == &htim5))
  {
    DRV_updateEncoder(htim);
  }
  else
  {
    ; /* Nothing to do */
  }

  return;
}

void HAL_TIM_PeriodElapsedCallback(TIM_HandleTypeDef *htim)
{
  /* Check whether the handle of the triggering timer requires a LED update */
  if (htim == &htim1)
  {
    LED_update();
  }
  /* Check whether the handle of the triggering timer requires a chronometer update */
  else if (htim == &htim6)
  {
    CHR_overflow();
  }

  return;
}

void HAL_UART_TxCpltCallback(UART_HandleTypeDef *huart)
{
  /* Nothing to do */
  return;
}

void HAL_UART_RxCpltCallback(UART_HandleTypeDef *huart)
{
  /* Check the handle of the UART triggering this callback and actually receive date */
  if (huart == &huart1)
  {
    CON_receiveData();
  }
  else if (huart == &huart4)
  {
    MAS_receiveData();
  }
  else
  {
    ; /* Nothing to do */
  }

  return;
}

/* USER CODE END 4 */

void Error_Handler(void)
{
  /* USER CODE BEGIN Error_Handler_Debug */
  /* User can add his own implementation to report the HAL error return state */
  __disable_irq();

  LOG_error("Error_Handler() triggered");

  while (1)
  {
  }

  return;
  /* USER CODE END Error_Handler_Debug */
}

#ifdef  USE_FULL_ASSERT
/**
  * @brief  Reports the name of the source file and the source line number
  *         where the assert_param error has occurred.
  * @param  file: pointer to the source file name
  * @param  line: assert_param error line source number
  * @retval None
  */
void assert_failed(uint8_t *file, uint32_t line)
{
  /* USER CODE BEGIN 6 */
     LOG_error("Wrong parameters: %s@%d", file, line);

    return;
  /* USER CODE END 6 */
}
#endif /* USE_FULL_ASSERT */

/************************ (C) COPYRIGHT STMicroelectronics *****END OF FILE****/
